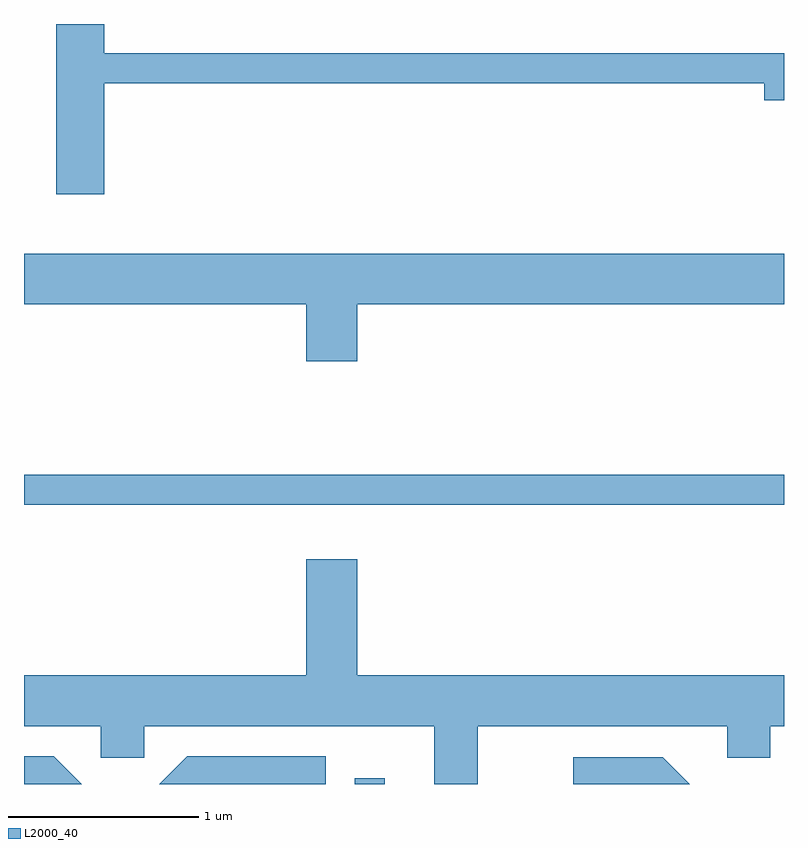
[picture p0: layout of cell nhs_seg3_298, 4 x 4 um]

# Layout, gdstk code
import gdstk
lib = gdstk.Library(unit=1e-6, precision=1e-09)
def R(c, l, rs):  # rectangles x0, y0, x1, y1
    for r in rs: c.add(gdstk.rectangle(r[:2], r[2:], *l))
def P(c, l, *ps):  # polygons
    for p in ps: c.add(gdstk.Polygon(p, *l))
L2000_40 = (2000, 40)

nhs_seg3_298 = lib.new_cell('nhs_seg3_298')
R(nhs_seg3_298, L2000_40, [(195.351,1167.892,195.509,1167.923), (193.611,1169.361,197.611,1169.519)])
P(nhs_seg3_298, L2000_40, [(194.034,1171.581),(197.506,1171.581),(197.506,1171.491),(197.611,1171.491),(197.611,1171.739),(194.034,1171.739),(194.034,1171.892),(193.781,1171.892),(193.781,1170.996),(194.034,1170.996)],
  [(195.364,1170.416),(197.611,1170.416),(197.611,1170.684),(193.611,1170.684),(193.611,1170.416),(195.096,1170.416),(195.096,1170.116),(195.364,1170.116)],
  [(195.999,1168.196),(197.311,1168.196),(197.311,1168.031),(197.539,1168.031),(197.539,1168.196),(197.611,1168.196),(197.611,1168.464),(195.364,1168.464),(195.364,1169.074),(195.096,1169.074),(195.096,1168.464),(193.611,1168.464),(193.611,1168.196),(194.016,1168.196),(194.016,1168.031),(194.244,1168.031),(194.244,1168.196),(195.771,1168.196),(195.771,1167.892),(195.999,1167.892)],
  [(195.199,1168.039),(194.469,1168.039),(194.322,1167.892),(195.199,1167.892)],
  [(193.767,1168.039),(193.611,1168.039),(193.611,1167.892),(193.914,1167.892)],
  [(196.972,1168.034),(196.503,1168.034),(196.503,1167.892),(197.114,1167.892)])

lib.write_gds('nhs_seg3_298.gds')
